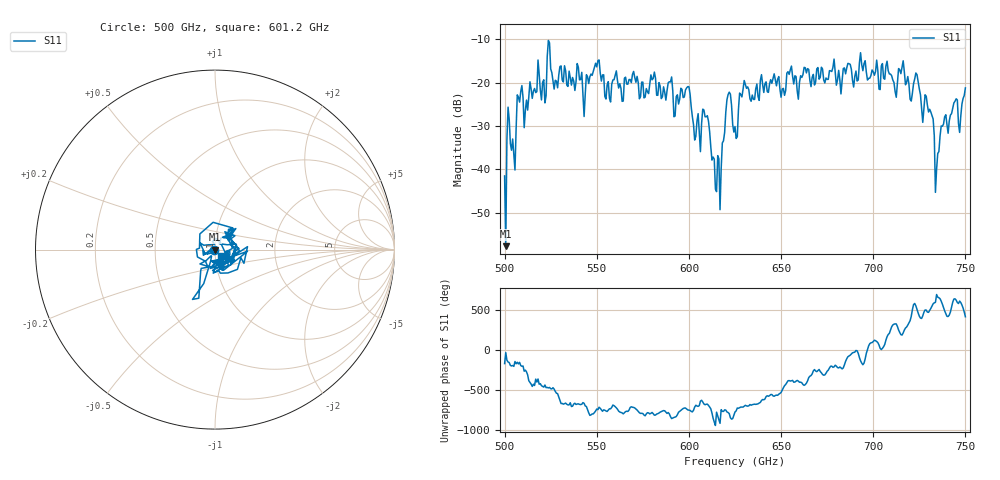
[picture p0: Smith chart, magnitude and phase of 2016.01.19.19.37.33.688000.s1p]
!Created with skrf (http://scikit-rf.org).
# GHz S RI R 50.0
!freq ReS11 ImS11
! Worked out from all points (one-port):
!   401 points, 500 GHz to 750 GHz, reference 50 ohm
!   lowest |S11| = -57.7 dB at 500.6 GHz (marker M1), VSWR 1.00, Z = 50.1 - j0.0728 ohm
!   |S11| at or under -10 dB: start of sweep to end of sweep
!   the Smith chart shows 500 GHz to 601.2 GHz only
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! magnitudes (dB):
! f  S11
! 500 GHz  -41.5
! 500.6 GHz  -57.7
! 502.5 GHz  -28.5
! 505 GHz  -36.7
! 508.1 GHz  -24.5
! 521.2 GHz  -19.4
! 524.4 GHz  -10.9
! 527.5 GHz  -19.5
! 531.2 GHz  -19.4
! 543.8 GHz  -22.7
! 550 GHz  -16.4
! 562.5 GHz  -20.3
! 580.6 GHz  -19.1
! 593.8 GHz  -22.8
! 599.4 GHz  -20.9
! 605 GHz  -27.2
! 608.8 GHz  -27.9
! 615.6 GHz  -36.8
! 621.2 GHz  -22.8
! 625 GHz  -30.1
! 630.6 GHz  -20.5
! 656.2 GHz  -18.6
! 687.5 GHz  -15.8
! 718.8 GHz  -18.6
! 729.4 GHz  -25.2
! 734.4 GHz  -40.0
! 738.1 GHz  -29.6
! 750 GHz  -21.2
